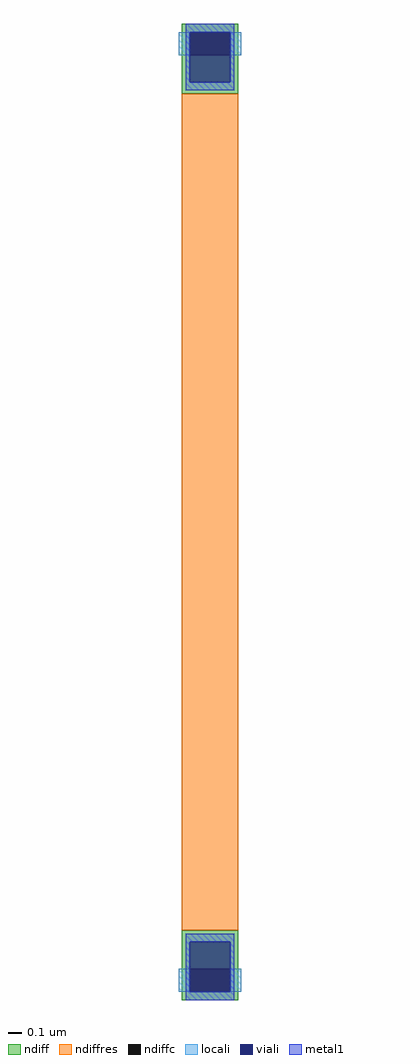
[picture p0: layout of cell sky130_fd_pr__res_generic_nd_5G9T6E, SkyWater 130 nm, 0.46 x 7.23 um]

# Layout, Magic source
magic
tech sky130A
magscale 1 2
<< ndiff >>
rect -42 711 42 723
rect -42 677 -30 711
rect 30 677 42 711
rect -42 620 42 677
rect -42 -677 42 -620
rect -42 -711 -30 -677
rect 30 -711 42 -677
rect -42 -723 42 -711
<< ndiffc >>
rect -30 677 30 711
rect -30 -711 30 -677
<< ndiffres >>
rect -42 -620 42 620
<< locali >>
rect -46 677 -30 711
rect 30 677 46 711
rect -46 -711 -30 -677
rect 30 -711 46 -677
<< viali >>
rect -30 677 30 711
rect -30 637 30 677
rect -30 -677 30 -637
rect -30 -711 30 -677
<< metal1 >>
rect -36 711 36 723
rect -36 637 -30 711
rect 30 637 36 711
rect -36 625 36 637
rect -36 -637 36 -625
rect -36 -711 -30 -637
rect 30 -711 36 -637
rect -36 -723 36 -711
<< properties >>
string gencell sky130_fd_pr__res_generic_nd
string library sky130
string parameters w 0.420 l 6.2 m 1 nx 1 wmin 0.42 lmin 2.10 rho 120 val 2.01k dummy 0 dw 0.05 term 0.0 sterm 0.0 caplen 0.4 snake 0 guard 0 glc 1 grc 1 gtc 1 gbc 1 roverlap 0 endcov 100 full_metal 0 vias 1 viagb 0 viagt 0 viagl 0 viagr 0
<< end >>
